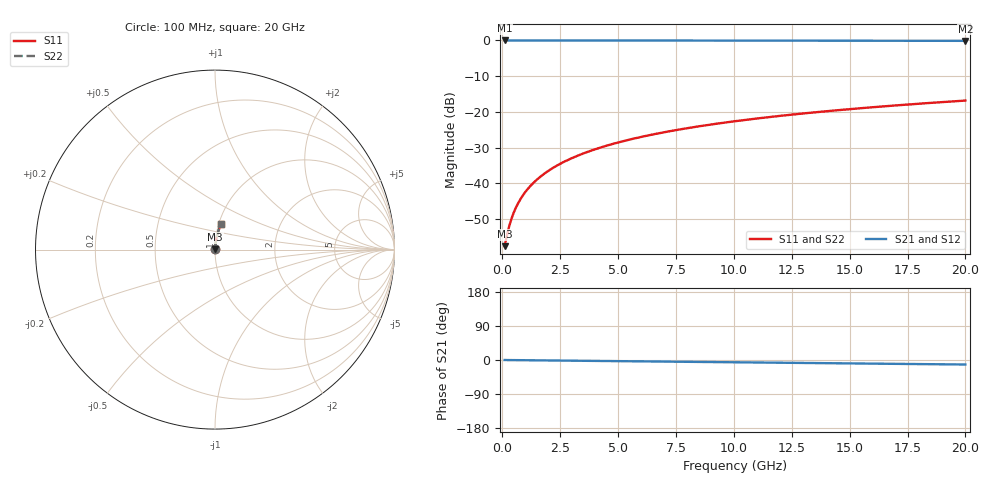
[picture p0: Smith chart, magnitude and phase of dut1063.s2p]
! Touchstone file exported from HFSS 2026.1.0
!  File:  C:/ffzhzh/LocalFiles/Ansys_Project_Files/temp_train_TSV_1063_1783189750_22436.aedt
!  Generated:  02:31:40 AM Jul  5, 2026
!  Design:  TSV
!  Project:  temp_train_TSV_1063_1783189750_22436
! Variables:
!  h_bsmrdl = 2um
!  h_ox = 20um
!  h_rdl = 5um
!  h_sub = 79.97um
!  h_tmrdl = 5um
!  h_tsv = 79.97um
!  h_via = 3um
!  l_bsmrdl = 300um
!  l_sub = 405.88um
!  l_tmrdl = 200um
!  m_sub = 200um
!  pitch = 54.09um
!  r_tsv = 2.94um
!  s_tmrdl = 10um
!  w_bsmrdl = 18um
!  w_sub = 500um
!  w_tmrdl = 12um
!  x_tsv_center1 = 206um
!  x_tsv_center2 = 524um
!  x_tsv_center3 = 736um
!  x_tsv_center4 = 1054um
!  x_tsv_center5 = 1266um
!  x_tsv_center6 = 1584um
# GHz S MA R 50.000000
! Terminal data exported
! Port[1] = TSV1_1_T1
! Port[2] = TSV1_1_T2
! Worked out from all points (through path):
!   200 points, 100 MHz to 20 GHz, reference 50 ohm
!   highest |S21| = -0.01 dB at 100 MHz (marker M1); lowest = -0.1 dB at 20 GHz (marker M2)
!   group delay of S21, straight-line fit = 1.65 ps
!   lowest |S11| = -57.6 dB at 100 MHz (marker M3), VSWR 1.00, Z = 50.1 + j0.076 ohm
!   |S11| at or under -10 dB: start of sweep to end of sweep
!   |S22| runs from -57.6 to -16.8 dB; largest |S21 - S12| = 3.4e-15
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0.1  0.001321 35.1  0.9989 -0.1  0.9989 -0.1  0.001321 35.1
! Gamma 0 0 0 0
! Port Impedance 50 0 50 0
0.2  0.001866 54.3  0.9989 -0.1  0.9989 -0.1  0.001866 54.3
0.3  0.002521 64.1  0.9989 -0.2  0.9989 -0.2  0.002521 64.1
0.4  0.003218 69.7  0.9989 -0.2  0.9989 -0.2  0.003218 69.7
0.5  0.003933 73.3  0.9989 -0.3  0.9989 -0.3  0.003933 73.3
0.6  0.004658 75.8  0.9989 -0.4  0.9989 -0.4  0.004658 75.8
0.8  0.006125 78.9  0.9989 -0.5  0.9989 -0.5  0.006125 78.9
1.1  0.008344 81.5  0.9988 -0.7  0.9988 -0.7  0.008344 81.5
1.5  0.01132 83.2  0.9988 -0.9  0.9988 -0.9  0.01132 83.2
1.8  0.01355 83.9  0.9987 -1.1  0.9987 -1.1  0.01355 83.9
2.1  0.01579 84.3  0.9987 -1.3  0.9987 -1.3  0.01579 84.3
2.7  0.02026 84.8  0.9985 -1.6  0.9985 -1.6  0.02026 84.8
3.5  0.02621 84.9  0.9983 -2.1  0.9983 -2.1  0.02621 84.9
4.2  0.03139 84.8  0.9981 -2.6  0.9981 -2.6  0.03139 84.8
5  0.0373 84.6  0.9977 -3.0  0.9977 -3.0  0.0373 84.6
5.9  0.04392 84.2  0.9973 -3.6  0.9973 -3.6  0.04392 84.2
6.8  0.0505 83.8  0.9969 -4.1  0.9969 -4.1  0.0505 83.8
8.3  0.0614 83.0  0.996 -5.0  0.996 -5.0  0.0614 83.0
10.1  0.07439 82.1  0.9949 -6.1  0.9949 -6.1  0.07439 82.1
13.4  0.09792 80.3  0.9924 -8.1  0.9924 -8.1  0.09792 80.3
16.7  0.1211 78.5  0.9896 -10.0  0.9896 -10.0  0.1211 78.5
20  0.144 76.7  0.9862 -11.9  0.9862 -11.9  0.144 76.7
